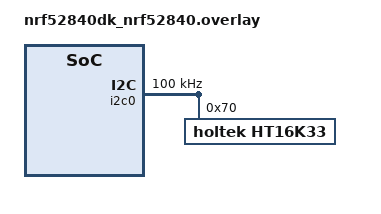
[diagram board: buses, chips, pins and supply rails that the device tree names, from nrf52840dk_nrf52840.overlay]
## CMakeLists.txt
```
cmake_minimum_required(VERSION 3.20.0)
find_package(Zephyr REQUIRED HINTS $ENV{ZEPHYR_BASE})

project(secondscounter_example)

FILE(GLOB app_sources src/*.c)
target_sources(app PRIVATE ${app_sources})
```

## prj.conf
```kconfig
CONFIG_PRINTK=y

CONFIG_LOG=y
CONFIG_I2C=y
CONFIG_LED=y
CONFIG_KSCAN=y
CONFIG_KSCAN_INIT_PRIORITY=95
CONFIG_HT16K33_KEYSCAN=y
```

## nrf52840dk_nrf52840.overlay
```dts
// To get started, press Ctrl+Space to bring up the completion menu and view the available nodes.

// You can also use the buttons in the sidebar to perform actions on nodes.
// Actions currently available include:

// * Enabling / disabling the node
// * Adding the bus to a bus
// * Removing the node
// * Connecting ADC channels

// For more help, browse the DeviceTree documentation at https://docs.zephyrproject.org/latest/guides/dts/index.html
// You can also visit the nRF DeviceTree extension documentation at https://nrfconnect.github.io/vscode-nrf-connect/devicetree/nrfdevicetree.html


&i2c0 {
	clock-frequency = <I2C_BITRATE_STANDARD>;

	ht16k33@70 {
		compatible = "holtek,ht16k33";
		reg = <0x70>;
                /* Uncomment to use IRQ instead of polling: */
		/* irq-gpios = <&gpio1 8 (GPIO_PULL_UP | GPIO_ACTIVE_LOW)>; */

		keyscan {
			compatible = "holtek,ht16k33-keyscan";
		};
	};
};
```

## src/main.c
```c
#include <zephyr/kernel.h>
#include <zephyr/device.h>
#include <zephyr/devicetree.h>
#include <zephyr/sys/util.h>

#include "led.h"
#include "value.h"

struct k_timer my_timer;
struct k_work my_work;

static int seconds = 0;

void my_work_handler(struct k_work *work)
{
        printk("Time: %d\n", seconds);

        // Display the time on the LED matrix
        led_on_seconds(seconds);

        // Increment the seconds
        seconds++;
        if(seconds > 59){
                seconds = 0;
        }
}

K_WORK_DEFINE(my_work, my_work_handler);

void my_timer_handler(struct k_timer *dummy)
{
        k_work_submit(&my_work);
}

K_TIMER_DEFINE(my_timer, my_timer_handler, NULL);

int main(void)
{
        printk("Seconds counter example 1\n");
        int ret = DK_OK;

        ret = led_init();
        if(ret != DK_OK){
                printk("Error initializing LED\n");
                return DK_ERR;
        }

        // Start the timer
        k_timer_start(&my_timer, K_SECONDS(1), K_SECONDS(1));

        return DK_OK;
}
```
